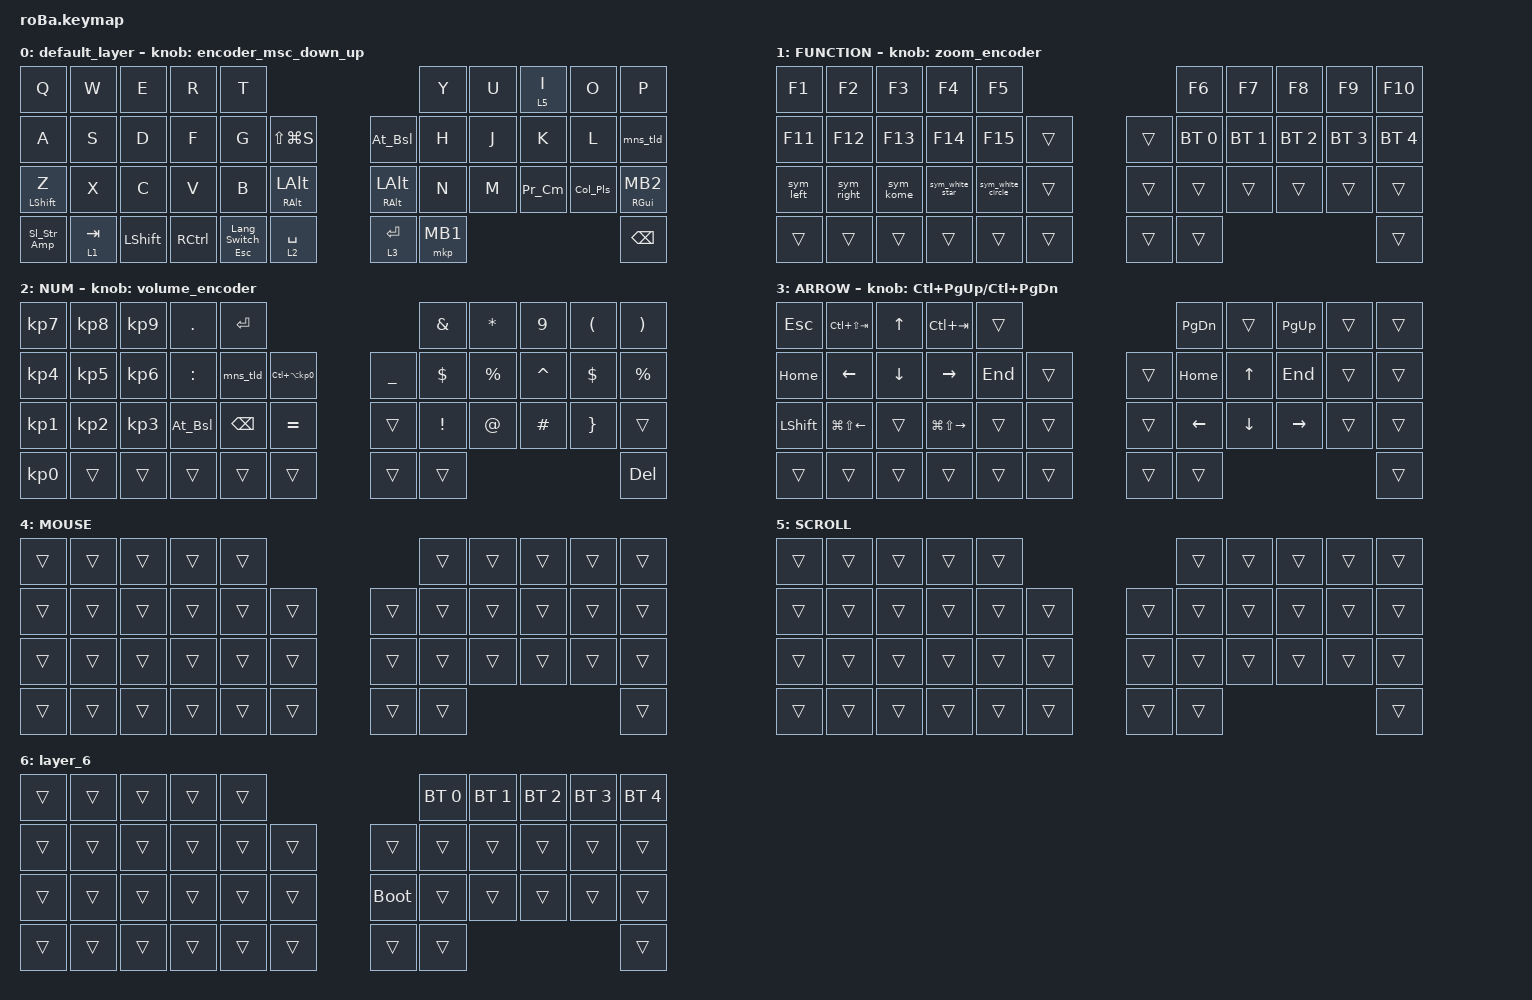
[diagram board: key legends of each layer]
#include <behaviors.dtsi>
#include <dt-bindings/zmk/bt.h>
#include <dt-bindings/zmk/keys.h>
#include <dt-bindings/zmk/pointing.h>

#define ZMK_POINTING_DEFAULT_SCRL_VAL 80

&mt {
    flavor = "balanced";
    quick-tap-ms = <0>;
};

&trackball {
    automouse-layer = <4>;
    scroll-layers = <5>;

    // arrows {
    //     layers = <3>;
    //     bindings =
    //         <&kp RIGHT_ARROW>,
    //         <&kp LEFT_ARROW>,
    //         <&kp UP_ARROW>,
    //         <&kp DOWN_ARROW>;
    //     tick = <10>;
    //     wait-ms = <5>;
    //     tap-ms = <5>;
    // };
};

/ {
    combos {
        compatible = "zmk,combos";

        tab {
            bindings = <&kp TAB>;
            key-positions = <11 12>;
        };

        shift_tab {
            bindings = <&kp LS(TAB)>;
            key-positions = <12 13>;
        };

        muhennkann {
            bindings = <&to_layer_0 INT_MUHENKAN>;
            key-positions = <11 10>;
        };

        double_quotation {
            bindings = <&kp DOUBLE_QUOTES>;
            key-positions = <20 21>;
        };

        eq {
            bindings = <&kp EQUAL>;
            key-positions = <24 25>;
        };
    };

    macros {
        to_layer_0: to_layer_0 {
            compatible = "zmk,behavior-macro-one-param";
            #binding-cells = <1>;
            bindings = <&to 0 &macro_param_1to1 &kp MACRO_PLACEHOLDER>;
            label = "TO_LAYER_0";
        };
    };

    behaviors {
        encoder_msc_down_up: encoder_msc_down_up {
            compatible = "zmk,behavior-sensor-rotate";
            label = "ENCODER_MSC_DOWN_UP";
            #sensor-binding-cells = <0>;
            bindings = <&msc SCRL_UP>, <&msc SCRL_DOWN>;

            tap-ms = <20>;
        };

        sym_left: sym_left {
            compatible = "zmk,behavior-macro";
            #binding-cells = <0>;
            wait-ms = <30>;
            tap-ms = <30>;
            bindings = <&kp H &kp D &kp Y &kp SPACE &kp ENTER>;
        };

        sym_right: sym_right {
            compatible = "zmk,behavior-macro";
            #binding-cells = <0>;
            wait-ms = <30>;
            tap-ms = <30>;
            bindings = <&kp M &kp G &kp Y &kp SPACE &kp ENTER>;
        };

        sym_kome: sym_kome {
            compatible = "zmk,behavior-macro";
            #binding-cells = <0>;
            wait-ms = <30>;
            tap-ms = <30>;
            bindings = <&kp K &kp M &kp J &kp SPACE &kp ENTER>;
        };

        sym_star: sym_star {
            compatible = "zmk,behavior-macro";
            #binding-cells = <0>;
            wait-ms = <30>;
            tap-ms = <30>;
            bindings = <&kp K &kp B &kp S &kp SPACE &kp ENTER>;
        };

        sym_white_star: sym_white_star {
            compatible = "zmk,behavior-macro";
            #binding-cells = <0>;
            wait-ms = <30>;
            tap-ms = <30>;
            bindings = <&kp S &kp B &kp S &kp SPACE &kp ENTER>;
        };

        sym_white_circle: sym_white_circle {
            compatible = "zmk,behavior-macro";
            #binding-cells = <0>;
            wait-ms = <30>;
            tap-ms = <30>;
            bindings = <&kp I &kp M &kp R &kp SPACE &kp ENTER>;
        };

        sym_double_circle: sym_double_circle {
            compatible = "zmk,behavior-macro";
            #binding-cells = <0>;
            wait-ms = <30>;
            tap-ms = <30>;
            bindings = <&kp N &kp M &kp R &kp SPACE &kp ENTER>;
        };

        sym_black_circle: sym_black_circle {
            compatible = "zmk,behavior-macro";
            #binding-cells = <0>;
            wait-ms = <30>;
            tap-ms = <30>;
            bindings = <&kp K &kp M &kp R &kp SPACE &kp ENTER>;
        };

        shift_caps: shift_caps {
            compatible = "zmk,behavior-tap-dance";
            display-name = "Shift/Caps Lock Tap Dance";
            #binding-cells = <0>;
            bindings = <&kp LEFT_SHIFT>, <&kp CAPS>;

            label = "SHIFT_CAPS";
        };

        zoom_in: zoom_in {
            compatible = "zmk,behavior-macro";
            #binding-cells = <0>;
            bindings = <&kp LC(EQUAL)>;
        };

        zoom_out: zoom_out {
            compatible = "zmk,behavior-macro";
            #binding-cells = <0>;
            bindings = <&kp LC(MINUS)>;
        };

        small_bra: small_bra {
            compatible = "zmk,behavior-macro";
            #binding-cells = <0>;
            bindings = <&kp LEFT_PARENTHESIS &kp RIGHT_PARENTHESIS &kp LEFT>;
            label = "SMALL_BRA";
        };

        Big_Bra: Big_Bra {
            compatible = "zmk,behavior-macro";
            #binding-cells = <0>;
            bindings = <&kp LEFT_BRACKET &kp RIGHT_BRACKET &kp LEFT_ARROW>;
            label = "BIG_BRA";
        };

        zoom_encoder: zoom_encoder {
            compatible = "zmk,behavior-sensor-rotate";
            #sensor-binding-cells = <0>;
            bindings = <&zoom_in>, <&zoom_out>;

            tap-ms = <2>;
            label = "ZOOM_ENCODER";
        };

        scroll_encoder: scroll_encoder {
            compatible = "zmk,behavior-sensor-rotate";
            #sensor-binding-cells = <0>;
            bindings = <&msc SCRL_UP>, <&msc SCRL_DOWN>;

            tap-ms = <100>;
        };

        volume_encoder: volume_encoder {
            compatible = "zmk,behavior-sensor-rotate";
            #sensor-binding-cells = <0>;
            bindings = <&kp C_VOLUME_UP>, <&kp C_VOL_DN>;

            tap-ms = <5>;
        };

        BS_DEL: BS_DEL {
            compatible = "zmk,behavior-tap-dance";
            label = "BS_DEL";
            #binding-cells = <0>;
            bindings = <&kp BACKSPACE>, <&kp DEL>, <&key_repeat>;
        };

        Ctrl_Esc: Ctrl_Esc {
            compatible = "zmk,behavior-tap-dance";
            label = "CTRL_ESC";
            #binding-cells = <0>;
            bindings = <&kp RCTRL>, <&kp ESCAPE>;
        };

        lt_to_base: lt_to_base {
            compatible = "zmk,behavior-hold-tap";
            #binding-cells = <2>;
            flavor = "hold-preferred";
            tapping-term-ms = <200>;
            bindings = <&mo>, <&to>;
        };

        Ht_kp: Ht_kp {
            compatible = "zmk,behavior-hold-tap";
            label = "HT_KP";
            bindings = <&kp>, <&kp>;

            #binding-cells = <2>;
            tapping-term-ms = <200>;
        };

        Lang_Switch: Lang_Switch {
            compatible = "zmk,behavior-tap-dance";
            label = "LANG_SWITCH";
            #binding-cells = <0>;
            bindings = <&kp LA(GRAVE)>, <&kp LANG_HANGEUL>, <&kp LANGUAGE_2>;
        };

        At_Bsl: At_Bsl {
            compatible = "zmk,behavior-tap-dance";
            label = "AT_BSL";
            #binding-cells = <0>;
            bindings = <&kp AT_SIGN>, <&kp NON_US_BACKSLASH>;
        };

        mns_tld: mns_tld {
            compatible = "zmk,behavior-tap-dance";
            label = "MNS_TLD";
            #binding-cells = <0>;
            bindings = <&kp MINUS>, <&kp LS(GRAVE)>;
        };

        Sl_Str_Amp: Sl_Str_Amp {
            compatible = "zmk,behavior-tap-dance";
            label = "SL_STR_AMP";
            #binding-cells = <0>;
            bindings = <&kp SLASH>, <&kp STAR>, <&kp AMPERSAND>;
        };

        HT_Mouse: HT_Mouse {
            compatible = "zmk,behavior-hold-tap";
            label = "HT_MOUSE";
            bindings = <&kp>, <&mkp>;

            #binding-cells = <2>;
            flavor = "balanced";
            tapping-term-ms = <200>;
        };

        HT_Lan_Esc: HT_Lan_Esc {
            compatible = "zmk,behavior-hold-tap";
            label = "HT_LAN_ESC";
            bindings = <&kp>, <&Lang_Switch>;

            #binding-cells = <2>;
            tapping-term-ms = <200>;
            flavor = "tap-preferred";
        };

        Cm_Sc: Cm_Sc {
            compatible = "zmk,behavior-tap-dance";
            label = "CM_SC";
            #binding-cells = <0>;
            bindings = <&kp COMMA>, <&kp SEMI>;
        };

        Col_Pls: Col_Pls {
            compatible = "zmk,behavior-tap-dance";
            label = "COL_PLS";
            #binding-cells = <0>;
            bindings = <&kp COLON>, <&kp PLUS>;
        };

        HTmk_behavior: HTmk_behavior {
            compatible = "zmk,behavior-hold-tap";
            label = "HTMK_BEHAVIOR";
            bindings = <&kp>, <&mkp>;

            #binding-cells = <2>;
            tapping-term-ms = <200>;
            flavor = "balanced";
        };

        Pr_Cm: Pr_Cm {
            compatible = "zmk,behavior-tap-dance";
            label = "PR_CM";
            #binding-cells = <0>;
            bindings = <&kp PERIOD>, <&kp COMMA>;
        };
    };

    keymap {
        compatible = "zmk,keymap";

        default_layer {
            bindings = <
&kp Q             &kp W      &kp E           &kp R              &kp T                                                                           &kp Y     &kp U  &lt 5 I  &kp O     &kp P
&kp A             &kp S      &kp D           &kp F              &kp G                 &kp LS(LG(S))                  &At_Bsl                    &kp H     &kp J  &kp K    &kp L     &mns_tld
&mt LEFT_SHIFT Z  &kp X      &kp C           &kp V              &kp B                 &Ht_kp RIGHT_ALT LEFT_ALT      &Ht_kp RIGHT_ALT LEFT_ALT  &kp N     &kp M  &Pr_Cm   &Col_Pls  &HT_Mouse RIGHT_GUI MB2
&Sl_Str_Amp       &lt 1 TAB  &kp LEFT_SHIFT  &kp RIGHT_CONTROL  &HT_Lan_Esc ESCAPE 0  &lt 2 SPACE                    &lt 3 ENTER                &mkp MB1                            &kp BACKSPACE
            >;

            sensor-bindings = <&encoder_msc_down_up>;
        };

        FUNCTION {
            bindings = <
&kp F1     &kp F2      &kp F3     &kp F4           &kp F5                                 &kp F6        &kp F7        &kp F8        &kp F9        &kp F10
&kp F11    &kp F12     &kp F13    &kp F14          &kp F15            &trans      &trans  &bt BT_SEL 0  &bt BT_SEL 1  &bt BT_SEL 2  &bt BT_SEL 3  &bt BT_SEL 4
&sym_left  &sym_right  &sym_kome  &sym_white_star  &sym_white_circle  &trans      &trans  &trans        &trans        &trans        &trans        &trans
&trans     &trans      &trans     &trans           &trans             &trans      &trans  &trans                                                  &trans
            >;

            sensor-bindings = <&zoom_encoder>;
        };

        NUM {
            bindings = <
&kp KP_NUMBER_7  &kp KP_NUMBER_8  &kp KP_NUMBER_9  &kp PERIOD  &kp ENTER                                                   &kp AMPERSAND    &kp ASTERISK  &kp N9     &kp LEFT_PARENTHESIS  &kp RIGHT_PARENTHESIS
&kp KP_NUMBER_4  &kp KP_NUMBER_5  &kp KP_NUMBER_6  &kp COLON   &mns_tld       &kp LC(LA(KP_NUMBER_0))      &kp UNDERSCORE  &kp DOLLAR       &kp PERCENT   &kp CARET  &kp DOLLAR            &kp PERCENT
&kp KP_NUMBER_1  &kp KP_NUMBER_2  &kp KP_NUMBER_3  &At_Bsl     &kp BACKSPACE  &kp EQUAL                    &trans          &kp EXCLAMATION  &kp AT_SIGN   &kp HASH   &kp RIGHT_BRACE       &trans
&kp KP_NUMBER_0  &trans           &trans           &trans      &trans         &trans                       &trans          &trans                                                          &kp DELETE
            >;

            sensor-bindings = <&volume_encoder>;
        };

        ARROW {
            bindings = <
&kp ESCAPE      &kp LC(LS(TAB))         &kp UP_ARROW    &kp LC(TAB)              &trans                       &kp PAGE_DOWN  &trans        &kp PAGE_UP  &trans  &trans
&kp HOME        &kp LEFT_ARROW          &kp DOWN_ARROW  &kp RIGHT_ARROW          &kp END  &trans      &trans  &kp HOME       &kp UP_ARROW  &kp END      &trans  &trans
&kp LEFT_SHIFT  &kp LG(LS(LEFT_ARROW))  &trans          &kp LG(LS(RIGHT_ARROW))  &trans   &trans      &trans  &kp LEFT       &kp DOWN      &kp RIGHT    &trans  &trans
&trans          &trans                  &trans          &trans                   &trans   &trans      &trans  &trans                                            &trans
            >;

            sensor-bindings = <&inc_dec_kp LC(PAGE_UP) LC(PAGE_DOWN)>;
        };

        MOUSE {
            bindings = <
&trans  &trans  &trans  &trans  &trans                      &trans  &trans  &trans  &trans  &trans
&trans  &trans  &trans  &trans  &trans  &trans      &trans  &trans  &trans  &trans  &trans  &trans
&trans  &trans  &trans  &trans  &trans  &trans      &trans  &trans  &trans  &trans  &trans  &trans
&trans  &trans  &trans  &trans  &trans  &trans      &trans  &trans                          &trans
            >;
        };

        SCROLL {
            bindings = <
&trans  &trans  &trans  &trans  &trans                      &trans  &trans  &trans  &trans  &trans
&trans  &trans  &trans  &trans  &trans  &trans      &trans  &trans  &trans  &trans  &trans  &trans
&trans  &trans  &trans  &trans  &trans  &trans      &trans  &trans  &trans  &trans  &trans  &trans
&trans  &trans  &trans  &trans  &trans  &trans      &trans  &trans                          &trans
            >;
        };

        layer_6 {
            bindings = <
&trans  &trans  &trans  &trans  &trans                           &bt BT_SEL 0  &bt BT_SEL 1  &bt BT_SEL 2  &bt BT_SEL 3  &bt BT_SEL 4
&trans  &trans  &trans  &trans  &trans  &trans      &trans       &trans        &trans        &trans        &trans        &trans
&trans  &trans  &trans  &trans  &trans  &trans      &bootloader  &trans        &trans        &trans        &trans        &trans
&trans  &trans  &trans  &trans  &trans  &trans      &trans       &trans                                                  &trans
            >;
        };
    };
};
